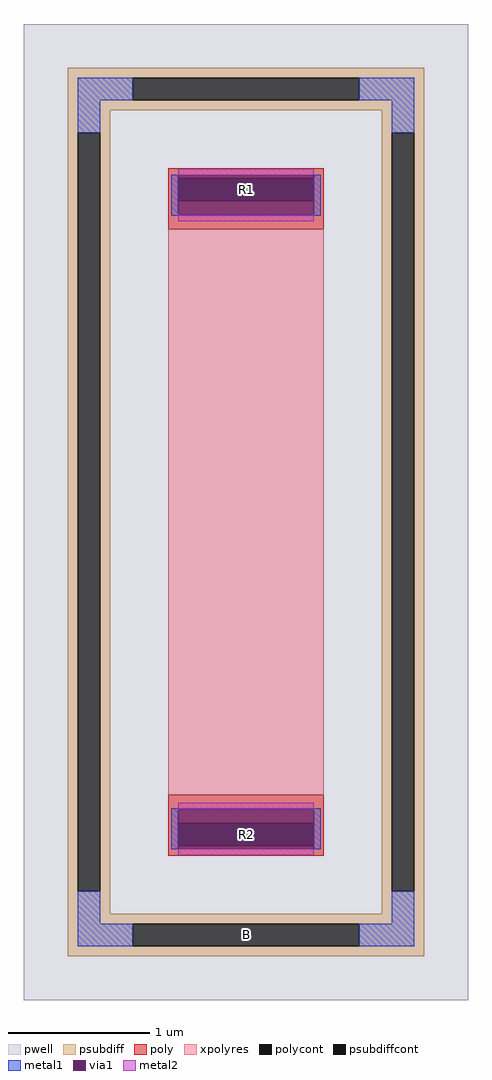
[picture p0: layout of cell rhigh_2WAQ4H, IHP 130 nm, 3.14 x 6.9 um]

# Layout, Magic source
magic
tech ihp-sg13cmos5l
magscale 1 2
<< pwell >>
rect -314 -690 314 690
<< psubdiff >>
rect -252 614 252 628
rect -252 582 -160 614
rect 160 582 252 614
rect -252 568 252 582
rect -252 536 -192 568
rect -252 -536 -238 536
rect -206 -536 -192 536
rect 192 536 252 568
rect -252 -568 -192 -536
rect 192 -536 206 536
rect 238 -536 252 536
rect 192 -568 252 -536
rect -252 -582 252 -568
rect -252 -614 -160 -582
rect 160 -614 252 -582
rect -252 -628 252 -614
<< psubdiffcont >>
rect -160 582 160 614
rect -238 -536 -206 536
rect 206 -536 238 536
rect -160 -614 160 -582
<< poly >>
rect -110 472 110 486
rect -110 440 -96 472
rect 96 440 110 472
rect -110 400 110 440
rect -110 -440 110 -400
rect -110 -472 -96 -440
rect 96 -472 110 -440
rect -110 -486 110 -472
<< polycont >>
rect -96 440 96 472
rect -96 -472 96 -440
<< xpolyres >>
rect -110 -400 110 400
<< metal1 >>
rect -238 582 -160 614
rect 160 582 238 614
rect -238 536 -206 582
rect 206 536 238 582
rect -106 476 106 477
rect -106 420 -96 476
rect 96 420 106 476
rect -106 419 106 420
rect -106 -420 106 -419
rect -106 -476 -96 -420
rect 96 -476 106 -420
rect -106 -477 106 -476
rect -238 -582 -206 -536
rect 206 -582 238 -536
rect -238 -614 -160 -582
rect 160 -614 238 -582
<< via1 >>
rect -96 472 96 476
rect -96 440 96 472
rect -96 420 96 440
rect -96 -440 96 -420
rect -96 -472 96 -440
rect -96 -476 96 -472
<< metal2 >>
rect -96 476 96 485
rect -96 411 96 420
rect -96 -420 96 -411
rect -96 -485 96 -476
<< labels >>
rlabel psubdiffcont 0 -598 0 -598 0 B
port 1 nsew
rlabel polycont 0 456 0 456 0 R1
port 2 nsew
rlabel polycont 0 -456 0 -456 0 R2
port 3 nsew
<< properties >>
string FIXED_BBOX -222 -598 222 598
string gencell rhigh
string library sg13cmos5l
string MASKHINTS_CONTBAR -110 -486 110 486
string parameters w 1.1 l 4.0 m 1 nx 1 wmin 0.50 lmin 0.50 class resistor rho 1360 val 4.945k dummy 0 dw 0.0 term 0.0 sterm 0.0 caplen 0 bar 1 guard 1 glc 1 grc 1 gtc 1 gbc 1 snake 0 full_metal 1 n_guard 0 hv_guard 0 vias 1 viagb 0 viagt 0 viagl 0 viagr 0 doports 1 b 0 mm_ok 1
<< end >>
